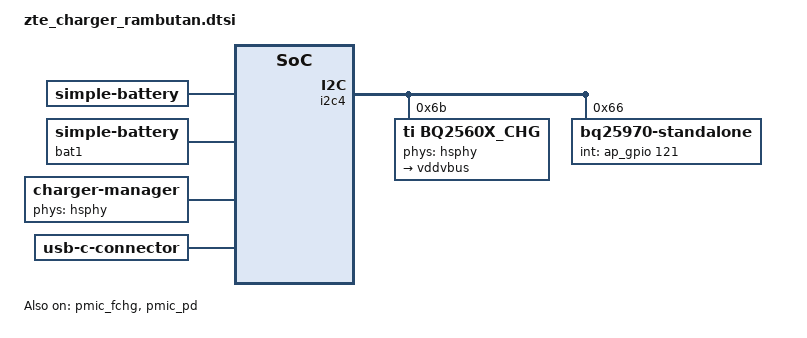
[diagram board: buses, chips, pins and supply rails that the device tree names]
#include <dt-bindings/usb/pd.h>

/ {
	bat: battery {
		compatible = "simple-battery";
		charge-full-design-microamp-hours = <2780000>;
		charge-term-current-microamp = <120000>;
		constant_charge_voltage_max_microvolt = <4350000>;
		factory-internal-resistance-micro-ohms = <320000>;
		voltage-min-design-microvolt = <3450000>;
		ocv-capacity-celsius = <20>;
		ocv-capacity-table-0 = <4330000 100>, <4249000 95>, <4189000 90>,
					<4133000 85>, <4081000 80>, <4034000 75>,
					<3991000 70>, <3953000 65>, <3910000 60>,
					<3866000 55>, <3836000 50>, <3813000 45>,
					<3795000 40>, <3782000 35>, <3774000 30>,
					<3765000 25>, <3750000 20>, <3726000 15>,
					<3687000 10>, <3658000 5>, <3400000 0>;
		voltage-temp-table = <1095000 800>, <986000 850>, <878000 900>,
					  <775000 950>, <678000 1000>, <590000 1050>,
					  <510000 1100>, <440000 1150>, <378000 1200>,
					  <324000 1250>, <278000 1300>, <238000 1350>,
					  <204000 1400>, <175000 1450>, <150000 1500>,
					  <129000 1550>, <111000 1600>, <96000 1650>;
		capacity-temp-table = <25 100>, <10 97>, <(-10) 60>;
		resistance-temp-table = <20 100>, <10 243>, <(-10) 468>;
		charge-sdp-current-microamp = <500000 500000>;
		charge-dcp-current-microamp = <1150000 3000000>;
		charge-cdp-current-microamp = <1150000 1150000>;
		charge-unknown-current-microamp = <500000 500000>;
	};

	bat1: battery1 {
		compatible = "simple-battery";
		charge-full-design-microamp-hours = <2780000>;
		charge-term-current-microamp = <120000>;
		constant_charge_voltage_max_microvolt = <4350000>;
		factory-internal-resistance-micro-ohms = <320000>;
		voltage-min-design-microvolt = <3450000>;
		ocv-capacity-celsius = <20>;
		ocv-capacity-table-0 = <4330000 100>, <4249000 95>, <4189000 90>,
					<4133000 85>, <4081000 80>, <4034000 75>,
					<3991000 70>, <3953000 65>, <3910000 60>,
					<3866000 55>, <3836000 50>, <3813000 45>,
					<3795000 40>, <3782000 35>, <3774000 30>,
					<3765000 25>, <3750000 20>, <3726000 15>,
					<3687000 10>, <3658000 5>, <3400000 0>;
		voltage-temp-table = <1095000 800>, <986000 850>, <878000 900>,
					  <775000 950>, <678000 1000>, <590000 1050>,
					  <510000 1100>, <440000 1150>, <378000 1200>,
					  <324000 1250>, <278000 1300>, <238000 1350>,
					  <204000 1400>, <175000 1450>, <150000 1500>,
					  <129000 1550>, <111000 1600>, <96000 1650>;
		capacity-temp-table = <25 100>, <10 97>, <(-10) 60>;
		resistance-temp-table = <20 100>, <10 243>, <(-10) 468>;
		charge-sdp-current-microamp = <500000 500000>;
		charge-dcp-current-microamp = <1150000 3000000>;
		charge-cdp-current-microamp = <1150000 1150000>;
		charge-unknown-current-microamp = <500000 500000>;
	};

	charger-manager {
		compatible = "charger-manager";
		cm-name = "battery";
		cm-poll-mode = <2>;
		cm-poll-interval = <15000>;
		cm-battery-stat = <2>;

		cm-fullbatt-vchkdrop-ms = <30000>;
		cm-fullbatt-vchkdrop-volt = <60000>;
		cm-fullbatt-voltage = <4330000>;
		cm-fullbatt-current = <120000>;
		cm-fullbatt-capacity = <100>;
		/*Charge pump target charge current*/
		cm-cp-taper-current = <1000000>;

		cm-num-chargers = <1>;
		cm-num-charge-pumps = <1>;
		cm-num-fast-chargers = <1>;
		cm-chargers = "bq2560x_charger";
		cm-charge-pumps = "bq2597x-standalone";
		cm-fast-chargers = "sc2730_fast_charger";
		cm-fuel-gauge = "sc27xx-fgu";

		/* in deci centigrade */
		cm-battery-cold = <200>;
		cm-battery-cold-in-minus;
		cm-battery-hot = <800>;
		cm-battery-temp-diff = <100>;

		/* Allow charging for 6hr */
		cm-charging-max = <21600000>;
		/* recovery charging after stop charging 45min */
		cm-discharging-max = <2700000>;

		/* the interval to feed charger watchdog */
		cm-wdt-interval = <60>;

		/* drop voltage in microVolts to allow shutdown */
		cm-shutdown-voltage = <3100000>;

		/* when 99% of the time is exceeded, it will be forced to 100% */
		cm-tickle-time-out = <1500>;

		/* how much time to allow capacity change */
		cm-one-cap-time = <30>;

		/* when the safe charging voltage is exceeded, stop charging */
		cm-charge-voltage-max = <6500000>;
		cm-flash-charge-voltage-max = <12000000>;
		cm-flash-charge-voltage-drop = <1000000>;

		/* drop voltage in microVolts to restart charging */
		cm-charge-voltage-drop = <700000>;

		/* when the safe charging voltage is exceeded, stop charging */
		cm-fast-charge-voltage-max = <10500000>;
		/* drop voltage in microVolts to restart charging */
		cm-fast-charge-voltage-drop = <700000>;
		cm-dcp-jeita-temp-table = <1000 1030 0 4350000>, <1150 1180 700000 4350000>,
			<1450 1420 1150000 4350000>, <1600 1570 700000 4100000>;
		cm-sdp-jeita-temp-table = <1000 1030 0 4350000>, <1150 1180 500000 4350000>,
			<1450 1420 500000 4350000>, <1600 1570 500000 4100000>;
		cm-cdp-jeita-temp-table = <1000 1030 0 4350000>, <1150 1180 700000 4350000>,
			<1450 1420 1150000 4350000>, <1600 1570 700000 4100000>;
		cm-unknown-jeita-temp-table = <1000 1030 0 4350000>, <1150 1180 500000 4350000>,
			<1450 1420 500000 4350000>, <1600 1570 500000 4100000>;
		cm-fchg-jeita-temp-table = <1000 1030 0 4400000>, <1150 1180 1000000 4400000>,
			<1450 1420 5000000 4400000>, <1600 1570 1000000 4100000>;
		cm-flash-jeita-temp-table = <1000 1030 0 4400000>, <1150 1180 1000000 4400000>,
			<1450 1420 5000000 4400000>, <1600 1570 1000000 4100000>;

		monitored-battery = <&bat>;
		cm-capacity-track;

		cm-cap-remap-table = <1 2 3>, <2 3 2>, <98 99 2>, <99 100 3>;

		regulator@0 {
			cm-regulator-name = "vddgen0";
			cable@0 {
				cm-cable-name = "USB";
				extcon = <&pmic_typec>;
			};
		};
	};
};

&bat {
		charge-term-current-microamp = <400000>;
		constant_charge_voltage_max_microvolt = <4450000>;
		constant_charge_current_max_microamp = <6000000>;
		voltage-min-design-microvolt = <3450000>;
		ocv-capacity-celsius = <25>;
		charge-full-design-microamp-hours = <4138000>;
		factory-internal-resistance-micro-ohms = <94000>;
		charge-pumps-threshold-microvolt = <4200000>;
		ocv-capacity-table-0 = <4435000 100>, <4381000 95>, <4328000 90>,
					<4270000 85>, <4209000 80>, <4151000 75>,
					<4096000 70>, <4044000 65>, <3997000 60>,
					<3938000 55>, <3890000 50>, <3860000 45>,
					<3836000 40>, <3816000 35>, <3799000 30>,
					<3777000 25>, <3753000 20>, <3727000 15>,
					<3697000 10>, <3684000 5>, <3400000 0>;
		/* NTC 100k, Vref 1850mV, R pull-up 110K, R pull-down 200k */
		voltage-temp-table = <1142302 750>, <1124233 800>, <1101233 850>,
					<1072536 900>, <1037442 950>, <995634 1000>,
					<946936 1050>, <891766 1100>, <830977 1150>,
					<765857 1200>, <698113 1250>, <629571 1300>,
					<562069 1350>, <497228 1400>, <436397 1450>,
					<380362 1500>, <329745 1550>, <284636 1600>,
					<244918 1650>, <210360 1700>, <180383 1750>;
		capacity-temp-table = <25 100>, <10 100>, <0 98>, <(-10) 95>, <(-20) 85>;
		resistance-temp-table = <25 100>, <10 174>, <0 918>, <(-10) 1233>, <(-20) 1378>;
	charge-sdp-current-microamp = <700000 500000>;
	charge-dcp-current-microamp = <2000000 2000000>;
	charge-cdp-current-microamp = <2000000 1500000>;
	charge-unknown-current-microamp = <1000000 1000000>;
	charge-fchg-current-microamp = <2000000 2500000>;
	charge-flash-current-microamp = <5000000 2000000>;
};

&bat1 {
		charge-term-current-microamp = <400000>;
		constant_charge_voltage_max_microvolt = <4450000>;
		constant_charge_current_max_microamp = <6000000>;
		voltage-min-design-microvolt = <3450000>;
		ocv-capacity-celsius = <25>;
		charge-full-design-microamp-hours = <4138000>;
		factory-internal-resistance-micro-ohms = <94000>;
		charge-pumps-threshold-microvolt = <4200000>;
		ocv-capacity-table-0 = <4435000 100>, <4381000 95>, <4328000 90>,
					<4270000 85>, <4209000 80>, <4151000 75>,
					<4096000 70>, <4044000 65>, <3997000 60>,
					<3938000 55>, <3890000 50>, <3860000 45>,
					<3836000 40>, <3816000 35>, <3799000 30>,
					<3777000 25>, <3753000 20>, <3727000 15>,
					<3697000 10>, <3684000 5>, <3400000 0>;
		/* NTC 100k, Vref 1850mV, R pull-up 110K, R pull-down 200k */
		voltage-temp-table = <1142302 750>, <1124233 800>, <1101233 850>,
					<1072536 900>, <1037442 950>, <995634 1000>,
					<946936 1050>, <891766 1100>, <830977 1150>,
					<765857 1200>, <698113 1250>, <629571 1300>,
					<562069 1350>, <497228 1400>, <436397 1450>,
					<380362 1500>, <329745 1550>, <284636 1600>,
					<244918 1650>, <210360 1700>, <180383 1750>;
		capacity-temp-table = <25 100>, <10 100>, <0 98>, <(-10) 95>, <(-20) 85>;
		resistance-temp-table = <25 100>, <10 174>, <0 918>, <(-10) 1233>, <(-20) 1378>;
	charge-sdp-current-microamp = <700000 500000>;
	charge-dcp-current-microamp = <2000000 2000000>;
	charge-cdp-current-microamp = <2000000 1500000>;
	charge-unknown-current-microamp = <1000000 1000000>;
	charge-fchg-current-microamp = <2000000 2500000>;
	charge-flash-current-microamp = <5000000 2700000>;

};

&pmic_fgu {
	monitored-battery = <&bat &bat1>;
	sprd,calib-resistance-real = <5000>;
	sprd,calib-resistance-spec = <20000>;
	first-calib-voltage = <3600000>;
	first-calib-capacity = <40>;
	io-channels = <&pmic_adc 0>, <&pmic_adc 6>,<&pmic_adc 14>;
	io-channel-names = "bat-temp", "adc-batt-id", "charge-vol";
};

&pmic_fchg {
	sprd,input-voltage-microvolt = <5000000>;
	phys = <&hsphy>;
	status = "okay";
};

&pmic_pd {
	status = "okay";
	usb_con: connector {
		compatible = "usb-c-connector";
		label = "USB-C";
		power-role = "dual";
		try-power-role = "sink";
		source-pdos = <PDO_FIXED(5000, 400, PDO_FIXED_USB_COMM)>;
		sink-pdos = <PDO_FIXED(5000, 2000, PDO_FIXED_USB_COMM)
			     PDO_PPS_APDO(3300, 11000, 3000)>;
		op-sink-microwatt = <10000000>;
	};
};

/ {
	charger-manager {
		cm-fullbatt-voltage = <4400000>;
		cm-fullbatt-vchkdrop-volt = <50000>;
		cm-fullbatt-current = <240000>;
		cm-thermal-limit = <2>;

		/* in deci centigrade */
		cm-battery-cold = <0>;
		cm-battery-hot = <550>;
		cm-battery-temp-diff = <30>;
		cm-tickle-time-out = <180>;

		/* how much time to allow capacity change */
		cm-one-cap-time = <20>;

		cm-disable-charger-type-jeita;
		cm-jeita-temp-table = <1000 1030 0 4450000>,
				<1050 1080 1400000 4450000>,
				<1150 1180 3400000 4450000>,
				<1450 1420 5000000 4450000>,
				<1550 1520 2100000 4100000>;

		cm-chargers = "bq2560x_charger";
		cm-hardware-psy = "bq2560x_charger";
		/*cm-hardware2-psy = "bq2560x_charger2";*/
		/* cm-hardware-psy = "bq25601_charger"; */
		monitored-battery =<&bat &bat1>;
		phys = <&hsphy>;
	};
};

&i2c4 {
	status = "okay";
	bq2560x_chg: charger@6b {
		compatible = "ti,bq2560x_chg";
		reg = <0x6b>;
		phys = <&hsphy>;
		monitored-battery = <&bat>;
		extcon = <&extcon_gpio>, <&pmic_pd>;
		pd-extcon-enable;
		vddvbus:otg-vbus {
			regulator-name = "vddvbus";
		};
	};

	bq25970-standalone@66 {
		compatible = "bq25970-standalone";
		status = "okay";
		reg = <0x66>;
		gpio_int = <&ap_gpio 121 0x0>;
		tsbus_high_r_kohm = <100>;
		tsbus_low_r_kohm = <100>;
		switching_frequency = <550>;
	};
};

/*&i2c2 {
	status = "okay";
	bq2560x_chg2: charger2@6b {
		compatible = "ti,bq2560x_chg2";
		reg = <0x6b>;
		phys = <&hsphy>;
		monitored-battery = <&bat>;
		extcon = <&extcon_gpio>;
		enable-gpios = <&ap_gpio 62 0>;
	};
};*/

#include "../bat_setting/battery_protect_policy_080509200133.dtsi"
